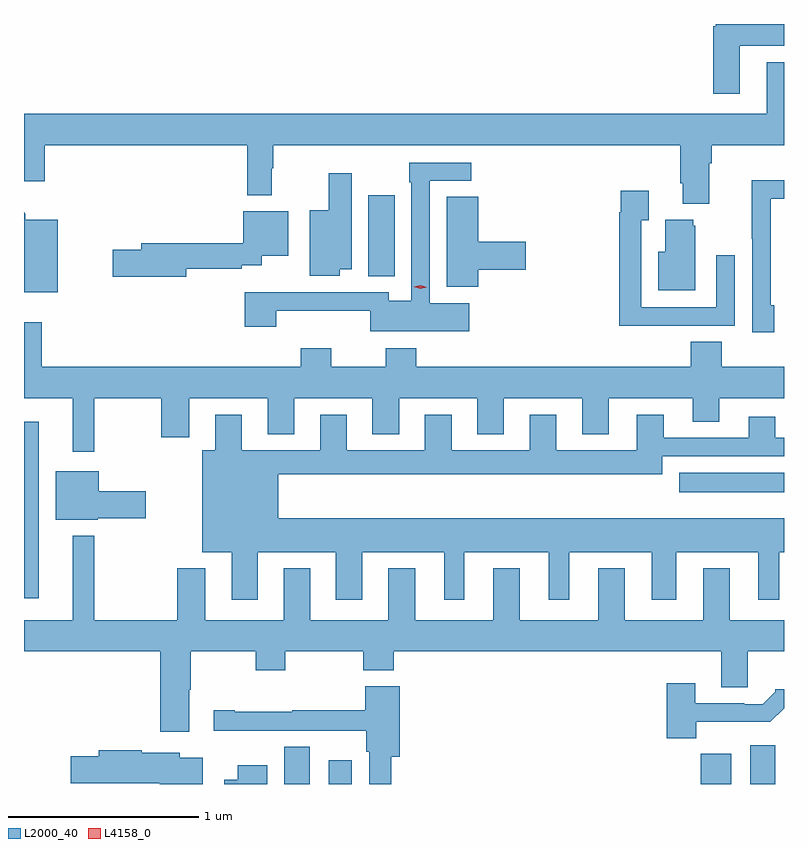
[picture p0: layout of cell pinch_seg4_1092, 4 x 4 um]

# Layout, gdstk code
import gdstk
lib = gdstk.Library(unit=1e-6, precision=1e-09)
def R(c, l, rs):  # rectangles x0, y0, x1, y1
    for r in rs: c.add(gdstk.rectangle(r[:2], r[2:], *l))
def P(c, l, *ps):  # polygons
    for p in ps: c.add(gdstk.Polygon(p, *l))
L2000_40 = (2000, 40)
L4158_0 = (4158, 0)

pinch_seg4_1092 = lib.new_cell('pinch_seg4_1092')
R(pinch_seg4_1092, L2000_40, [(396.23,798.785,396.364,798.98), (396.464,798.785,396.586,798.91), (398.422,798.785,398.584,798.943), (398.684,798.785,398.815,798.988), (394.861,799.763,394.939,800.692), (398.31,800.321,398.861,800.422), (396.674,801.457,396.811,801.883)])
P(pinch_seg4_1092, L2000_40, [(398.629,802.67),(398.861,802.67),(398.861,802.785),(398.501,802.785),(398.501,802.774),(398.489,802.774),(398.489,802.419),(398.629,802.419)],
  [(398.467,802.052),(398.48,802.052),(398.48,802.148),(398.861,802.148),(398.861,802.585),(398.771,802.585),(398.771,802.312),(394.861,802.312),(394.861,801.957),(394.97,801.957),(394.97,802.148),(396.037,802.148),(396.037,801.885),(396.166,801.885),(396.166,802.025),(396.173,802.025),(396.173,802.148),(398.315,802.148),(398.315,801.946),(398.327,801.946),(398.327,801.839),(398.467,801.839)],
  [(397.204,801.316),(396.996,801.316),(396.996,801.96),(397.216,801.96),(397.216,802.056),(396.888,802.056),(396.888,801.953),(396.9,801.953),(396.9,801.328),(396.78,801.328),(396.78,801.372),(396.269,801.372),(396.269,801.374),(396.023,801.374),(396.023,801.192),(396.188,801.192),(396.188,801.275),(396.684,801.275),(396.684,801.167),(397.204,801.167)],
  [(396.523,801.494),(396.586,801.494),(396.586,802),(396.464,802),(396.464,801.805),(396.365,801.805),(396.365,801.461),(396.523,801.461)],
  [(398.809,801.306),(398.79,801.306),(398.79,801.864),(398.861,801.864),(398.861,801.962),(398.692,801.962),(398.692,801.655),(398.694,801.655),(398.694,801.162),(398.809,801.162)],
  [(398.285,801.198),(398.601,801.198),(398.601,801.568),(398.505,801.568),(398.505,801.294),(398.109,801.294),(398.109,801.751),(398.149,801.751),(398.149,801.907),(398.001,801.907),(398.001,801.794),(397.993,801.794),(397.993,801.197),(398.285,801.197)],
  [(397.252,801.491),(397.501,801.491),(397.501,801.638),(397.252,801.638),(397.252,801.875),(397.085,801.875),(397.085,801.401),(397.252,801.401)],
  [(395.716,801.496),(396.008,801.496),(396.008,801.515),(396.111,801.515),(396.111,801.566),(396.253,801.566),(396.253,801.799),(396.015,801.799),(396.015,801.632),(395.477,801.632),(395.477,801.596),(395.328,801.596),(395.328,801.454),(395.716,801.454)],
  [(395.038,801.754),(394.868,801.754),(394.868,801.787),(394.861,801.794),(394.861,801.374),(395.038,801.374)],
  [(398.395,801.723),(398.384,801.723),(398.384,801.754),(398.237,801.754),(398.237,801.586),(398.198,801.586),(398.198,801.383),(398.395,801.383)],
  [(395.231,800.816),(395.584,800.816),(395.584,800.61),(395.731,800.61),(395.731,800.816),(396.143,800.816),(396.143,800.627),(396.283,800.627),(396.283,800.816),(396.695,800.816),(396.695,800.627),(396.835,800.627),(396.835,800.816),(397.247,800.816),(397.247,800.627),(397.387,800.627),(397.387,800.816),(397.799,800.816),(397.799,800.627),(397.939,800.627),(397.939,800.816),(398.381,800.816),(398.381,800.692),(398.521,800.692),(398.521,800.816),(398.861,800.816),(398.861,800.98),(398.534,800.98),(398.534,801.113),(398.369,801.113),(398.369,800.98),(396.926,800.98),(396.926,801.079),(396.766,801.079),(396.766,800.98),(396.477,800.98),(396.477,801.079),(396.317,801.079),(396.317,800.98),(394.955,800.98),(394.955,801.214),(394.861,801.214),(394.861,800.816),(395.117,800.816),(395.117,800.535),(395.231,800.535)],
  [(396.091,800.006),(396.503,800.006),(396.503,799.755),(396.64,799.755),(396.64,800.006),(397.073,800.006),(397.073,799.755),(397.177,799.755),(397.177,800.006),(397.622,800.006),(397.622,799.755),(397.732,799.755),(397.732,800.006),(398.165,800.006),(398.165,799.755),(398.293,799.755),(398.293,800.006),(398.726,800.006),(398.726,799.755),(398.836,799.755),(398.836,800.006),(398.861,800.006),(398.861,800.185),(396.199,800.185),(396.199,800.414),(398.221,800.414),(398.221,800.511),(398.861,800.511),(398.861,800.607),(398.815,800.607),(398.815,800.719),(398.675,800.719),(398.675,800.607),(398.227,800.607),(398.227,800.728),(398.087,800.728),(398.087,800.542),(397.663,800.542),(397.663,800.728),(397.523,800.728),(397.523,800.542),(397.111,800.542),(397.111,800.728),(396.971,800.728),(396.971,800.542),(396.559,800.542),(396.559,800.728),(396.419,800.728),(396.419,800.542),(396.007,800.542),(396.007,800.728),(395.867,800.728),(395.867,800.542),(395.798,800.542),(395.798,800.006),(395.954,800.006),(395.954,799.755),(396.091,799.755)],
  [(395.25,800.183),(395.503,800.183),(395.503,800.325),(395.254,800.325),(395.254,800.431),(395.027,800.431),(395.027,800.177),(395.25,800.177)],
  [(395.731,799.28),(395.739,799.28),(395.739,799.484),(396.082,799.484),(396.082,799.385),(396.237,799.385),(396.237,799.484),(396.646,799.484),(396.646,799.385),(396.806,799.385),(396.806,799.484),(398.531,799.484),(398.531,799.294),(398.671,799.294),(398.671,799.484),(398.861,799.484),(398.861,799.648),(398.575,799.648),(398.575,799.921),(398.435,799.921),(398.435,799.648),(398.023,799.648),(398.023,799.921),(397.883,799.921),(397.883,799.648),(397.471,799.648),(397.471,799.921),(397.331,799.921),(397.331,799.648),(396.919,799.648),(396.919,799.921),(396.779,799.921),(396.779,799.648),(396.367,799.648),(396.367,799.921),(396.227,799.921),(396.227,799.648),(395.815,799.648),(395.815,799.921),(395.668,799.921),(395.668,799.648),(395.231,799.648),(395.231,800.092),(395.117,800.092),(395.117,799.648),(394.861,799.648),(394.861,799.484),(395.579,799.484),(395.579,799.059),(395.731,799.059)],
  [(398.398,799.112),(398.789,799.112),(398.861,799.184),(398.861,799.285),(398.814,799.285),(398.814,799.27),(398.75,799.206),(398.651,799.206),(398.651,799.209),(398.395,799.209),(398.395,799.315),(398.243,799.315),(398.243,799.025),(398.398,799.025)],
  [(396.794,798.929),(396.839,798.929),(396.839,799.3),(396.656,799.3),(396.656,799.174),(396.272,799.174),(396.272,799.164),(395.971,799.164),(395.971,799.174),(395.859,799.174),(395.859,799.064),(396.134,799.064),(396.134,799.065),(396.468,799.065),(396.468,799.064),(396.661,799.064),(396.661,798.954),(396.678,798.954),(396.678,798.785),(396.794,798.785)],
  [(395.803,798.922),(395.682,798.922),(395.682,798.949),(395.48,798.949),(395.48,798.962),(395.255,798.962),(395.255,798.932),(395.106,798.932),(395.106,798.79),(395.576,798.79),(395.576,798.785),(395.803,798.785)],
  [(396.142,798.883),(395.987,798.883),(395.987,798.808),(395.915,798.808),(395.915,798.785),(396.142,798.785)])
P(pinch_seg4_1092, L4158_0, [(396.947,801.391),(396.913,801.403),(396.913,801.403),(396.913,801.403),(396.948,801.411),(396.982,801.4),(396.982,801.4),(396.982,801.4)])

lib.write_gds('pinch_seg4_1092.gds')
